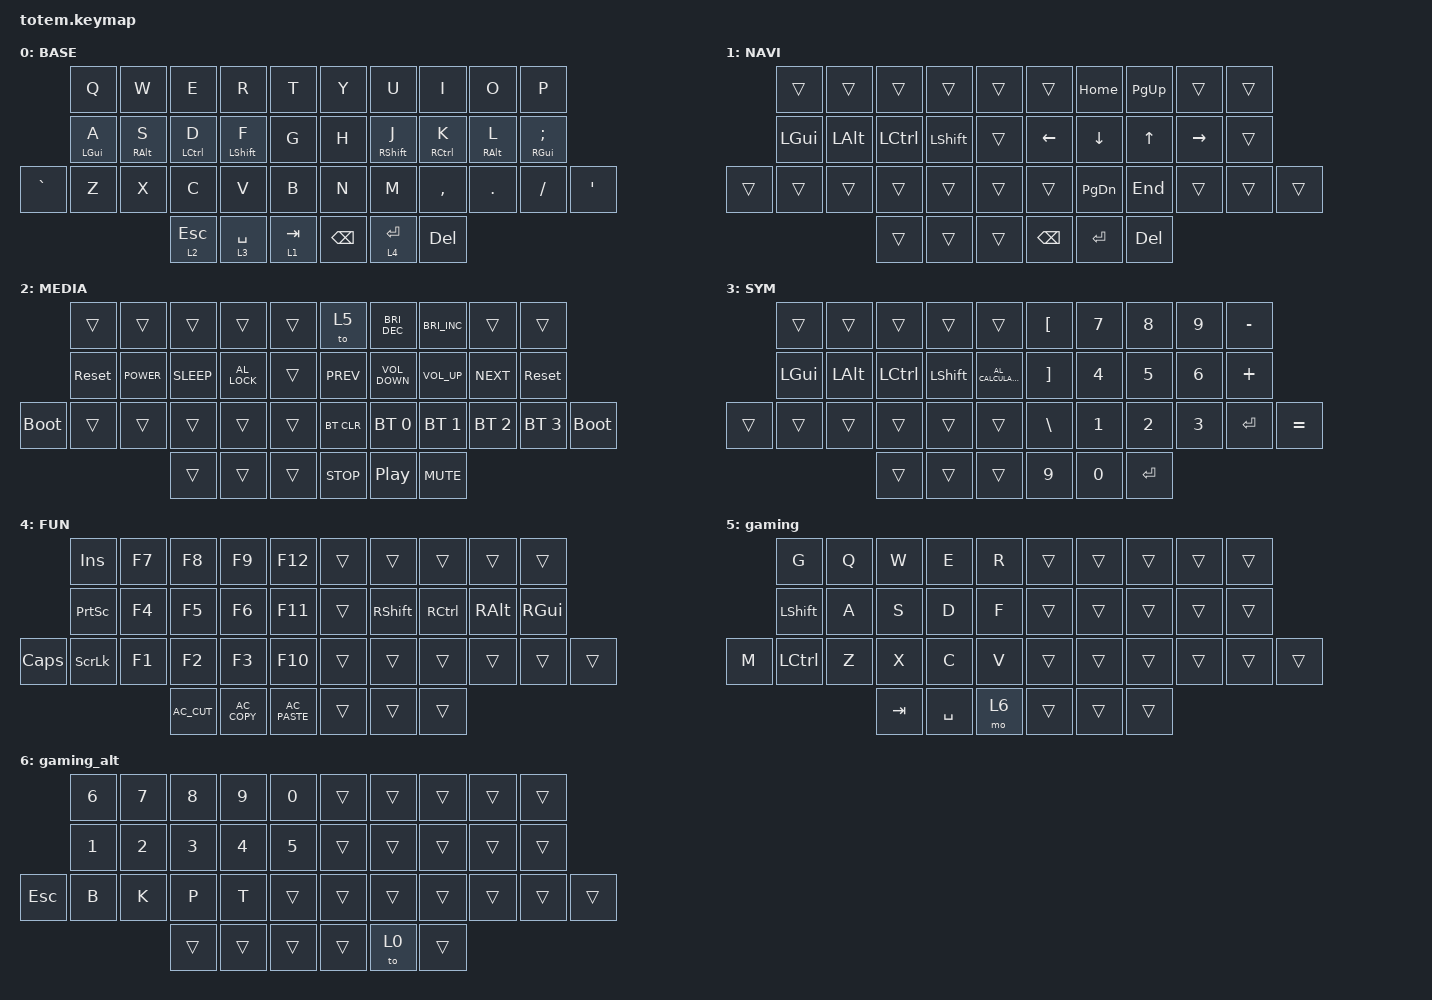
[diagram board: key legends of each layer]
//
//                                                        ▀▀▀▀▀     ▀▀▀▀▀          ▀▀█▀▀
//                                                        ▄▀▀▀▄  ▄  ▄▀▀▀▄  ▄  ▄▀▀▀▄  █  ▄▀▀▀▄
//                                                        █   █  █  █   █  █  █   █  █  █   █
//                                                         ▀▀▀   █   ▀▀▀   █   ▀▀▀   ▀   ▀▀▀
//                                                               █      ▄▄▄█▄▄▄    █   █  
//                                                               ▀      █  █  █     █▄█
//                                                             ▀▀▀▀▀    █  █  █      ▀
//                                                                      ▀  ▀  ▀
//
// ▄▄▄▄▄▄▄▄▄▄▄▄▄▄▄▄▄▄▄▄▄▄▄▄▄▄▄▄▄▄▄▄▄▄▄▄▄▄▄▄▄▄▄▄▄▄▄▄▄▄▄▄▄▄▄▄▄▄▄▄▄▄▄▄▄▄▄▄▄▄▄▄▄▄▄▄▄▄▄▄▄▄▄▄▄▄▄▄▄▄▄▄▄▄▄▄▄▄▄▄▄▄▄▄▄▄▄▄▄▄▄▄▄▄▄▄▄▄▄▄▄▄▄▄▄▄▄▄▄▄▄▄▄▄▄▄▄▄▄▄▄▄▄▄▄▄▄▄▄

#include <behaviors.dtsi>
#include <dt-bindings/zmk/bt.h>
#include <dt-bindings/zmk/keys.h>

#define BASE 0
#define NAV  1
#define SYM  2
#define ADJ  3
#define TVP1 4
#define TVP2 5

&mt {
    quick-tap-ms = <100>;
    global-quick-tap;
    flavor = "tap-preferred";
    tapping-term-ms = <170>;
};

/ {
    combos { compatible = "zmk,combos"; };

    keymap {
        compatible = "zmk,keymap";

        // ▄▄▄▄▄▄▄▄▄▄▄▄▄▄▄▄▄▄▄▄▄▄▄▄▄▄▄▄▄▄▄▄▄▄▄▄▄▄▄▄▄▄▄▄▄▄▄▄▄▄▄▄▄▄▄▄▄▄▄▄▄▄▄▄▄▄▄▄▄▄▄▄▄▄▄▄▄▄▄▄▄▄▄▄▄▄▄▄▄▄▄▄▄▄▄▄▄▄▄▄▄▄▄▄▄▄▄▄▄▄▄▄▄▄▄▄▄▄▄▄▄▄▄▄▄▄▄▄▄▄▄▄▄▄▄▄▄▄▄▄▄▄▄▄▄▄▄▄▄

        base_layer {
            // ┏━━━━━━━━━━━━━━━━━━━━━━━━━━━━━━━━━━━━━━━┓

            label = "BASE";

            // ┗━━━━━━━━━━━━━━━━━━━━━━━━━━━━━━━━━━━━━━━┛
            //             ┏━━━━━━━━━━━┳━━━━━━━━━━━┳━━━━━━━━━━━┳━━━━━━━━━━━┳━━━━━━━━━━━┓   ┏━━━━━━━━━━━┳━━━━━━━━━━━┳━━━━━━━━━━━┳━━━━━━━━━━━┳━━━━━━━━━━━┓
            //             ┃     Q     ┃     W     ┃     F     ┃     P     ┃     G     ┃   ┃     J     ┃     L     ┃     U     ┃     Y     ┃     ;     ┃
            //             ┣━━━━━━━━━━━╋━━━━━━━━━━━╋━━━━━━━━━━━╋━━━━━━━━━━━╋━━━━━━━━━━━┫   ┣━━━━━━━━━━━╋━━━━━━━━━━━╋━━━━━━━━━━━╋━━━━━━━━━━━╋━━━━━━━━━━━┫
            //             ┃     A     ┃     R     ┃     S     ┃     T     ┃     D     ┃   ┃     H     ┃     N     ┃     E     ┃     I     ┃     O     ┃
            // ┏━━━━━━━━━━━╋━━━━━━━━━━━╋━━━━━━━━━━━╋━━━━━━━━━━━╋━━━━━━━━━━━╋━━━━━━━━━━━┫   ┣━━━━━━━━━━━╋━━━━━━━━━━━╋━━━━━━━━━━━╋━━━━━━━━━━━╋━━━━━━━━━━━╋━━━━━━━━━━━┓
            // ┃     Q     ┃     Z     ┃     X     ┃     C     ┃     V     ┃     B     ┃   ┃     K     ┃     M     ┃     ,     ┃     .     ┃     /     ┃     \     ┃
            // ┗━━━━━━━━━━━┻━━━━━━━━━━━┻━━━━━━━━━━━╋━━━━━━━━━━━╋━━━━━━━━━━━╋━━━━━━━━━━━┫   ┣━━━━━━━━━━━╋━━━━━━━━━━━╋━━━━━━━━━━━╋━━━━━━━━━━━┻━━━━━━━━━━━┻━━━━━━━━━━━┛
            //                                     ┃    DEL    ┃    TAB    ┃    SPC    ┃   ┃   ENTER   ┃           ┃   BSPC    ┃
            //                                     ┗━━━━━━━━━━━┻━━━━━━━━━━━┻━━━━━━━━━━━┛   ┗━━━━━━━━━━━┻━━━━━━━━━━━┻━━━━━━━━━━━┛

            bindings = <
           &kp Q       &kp W       &kp E        &kp R        &kp T        &kp Y          &kp U        &kp I        &kp O       &kp P
           &mt LGUI A  &mt RALT S  &mt LCTRL D  &mt LSHFT F  &kp G        &kp H          &mt RSHFT J  &mt RCTRL K  &mt RALT L  &mt RGUI SEMICOLON
&kp GRAVE  &kp Z       &kp X       &kp C        &kp V        &kp B        &kp N          &kp M        &kp COMMA    &kp DOT     &kp FSLH            &kp APOSTROPHE
                                   &lt 2 ESC    &lt 3 SPACE  &lt 1 TAB    &kp BACKSPACE  &lt 4 ENTER  &kp DELETE
            >;
        };

        nav_layer {
            // ┏━━━━━━━━━━━━━━━━━━━━━━━━━━━━━━━━━━━━━━━┓

            label = "NAVI";

            // ┗━━━━━━━━━━━━━━━━━━━━━━━━━━━━━━━━━━━━━━━┛
            //             ┏━━━━━━━━━━━┳━━━━━━━━━━━┳━━━━━━━━━━━┳━━━━━━━━━━━┳━━━━━━━━━━━┓   ┏━━━━━━━━━━━┳━━━━━━━━━━━┳━━━━━━━━━━━┳━━━━━━━━━━━┳━━━━━━━━━━━┓
            //             ┃           ┃           ┃     UP    ┃           ┃     {     ┃   ┃     }     ┃     7     ┃     8     ┃     9     ┃     +     ┃
            //             ┣━━━━━━━━━━━╋━━━━━━━━━━━╋━━━━━━━━━━━╋━━━━━━━━━━━╋━━━━━━━━━━━┫   ┣━━━━━━━━━━━╋━━━━━━━━━━━╋━━━━━━━━━━━╋━━━━━━━━━━━╋━━━━━━━━━━━┫
            //             ┃   SHIFT   ┃   LEFT    ┃    DOWN   ┃   RIGHT   ┃     [     ┃   ┃     ]     ┃     4     ┃     5     ┃     6     ┃     -     ┃
            // ┏━━━━━━━━━━━╋━━━━━━━━━━━╋━━━━━━━━━━━╋━━━━━━━━━━━╋━━━━━━━━━━━╋━━━━━━━━━━━┫   ┣━━━━━━━━━━━╋━━━━━━━━━━━╋━━━━━━━━━━━╋━━━━━━━━━━━╋━━━━━━━━━━━╋━━━━━━━━━━━┓
            // ┃           ┃           ┃   P UP    ┃  C LOCK   ┃  P DOWN   ┃     (     ┃   ┃     )     ┃     1     ┃     2     ┃     3     ┃     *     ┃           ┃
            // ┗━━━━━━━━━━━┻━━━━━━━━━━━┻━━━━━━━━━━━╋━━━━━━━━━━━╋━━━━━━━━━━━╋━━━━━━━━━━━┫   ┣━━━━━━━━━━━╋━━━━━━━━━━━╋━━━━━━━━━━━╋━━━━━━━━━━━┻━━━━━━━━━━━┻━━━━━━━━━━━┛
            //                                     ┃           ┃    TAB    ┃    SPC    ┃   ┃    DEL    ┃     0     ┃           ┃
            //                                     ┗━━━━━━━━━━━┻━━━━━━━━━━━┻━━━━━━━━━━━┛   ┗━━━━━━━━━━━┻━━━━━━━━━━━┻━━━━━━━━━━━┛

            bindings = <
        &trans    &trans    &trans     &trans      &trans    &trans         &kp HOME       &kp PAGE_UP  &trans     &trans
        &kp LGUI  &kp LALT  &kp LCTRL  &kp LSHIFT  &trans    &kp LEFT       &kp DOWN       &kp UP       &kp RIGHT  &trans
&trans  &trans    &trans    &trans     &trans      &trans    &trans         &kp PAGE_DOWN  &kp END      &trans     &trans  &trans
                            &trans     &trans      &trans    &kp BACKSPACE  &kp ENTER      &kp DELETE
            >;
        };

        media_layer {
            bindings = <
             &trans      &trans       &trans       &trans         &trans    &to 5       &kp C_BRIGHTNESS_DEC  &kp C_BRIGHTNESS_INC  &trans        &trans
             &sys_reset  &kp C_POWER  &kp C_SLEEP  &kp C_AL_LOCK  &trans    &kp C_PREV  &kp C_VOLUME_DOWN     &kp C_VOLUME_UP       &kp C_NEXT    &sys_reset
&bootloader  &trans      &trans       &trans       &trans         &trans    &bt BT_CLR  &bt BT_SEL 0          &bt BT_SEL 1          &bt BT_SEL 2  &bt BT_SEL 3  &bootloader
                                      &trans       &trans         &trans    &kp C_STOP  &kp C_PLAY_PAUSE      &kp C_MUTE
            >;

            label = "MEDIA";
        };

        sym_layer {
            bindings = <
        &trans    &trans    &trans     &trans     &trans                 &kp LEFT_BRACKET   &kp N7  &kp N8     &kp N9  &kp MINUS
        &kp LGUI  &kp LALT  &kp LCTRL  &kp LSHFT  &kp C_AL_CALCULATOR    &kp RIGHT_BRACKET  &kp N4  &kp N5     &kp N6  &kp PLUS
&trans  &trans    &trans    &trans     &trans     &trans                 &kp BACKSLASH      &kp N1  &kp N2     &kp N3  &kp ENTER  &kp EQUAL
                            &trans     &trans     &trans                 &kp N9             &kp N0  &kp ENTER
            >;

            label = "SYM";
        };

        fun_layer {
            bindings = <
              &kp INSERT       &kp F7  &kp F8        &kp F9         &kp F12           &trans  &trans     &trans     &trans    &trans
              &kp PRINTSCREEN  &kp F4  &kp F5        &kp F6         &kp F11           &trans  &kp RSHFT  &kp RCTRL  &kp RALT  &kp RGUI
&kp CAPSLOCK  &kp SCROLLLOCK   &kp F1  &kp F2        &kp F3         &kp F10           &trans  &trans     &trans     &trans    &trans    &trans
                                       &kp C_AC_CUT  &kp C_AC_COPY  &kp C_AC_PASTE    &trans  &trans     &trans
            >;

            label = "FUN";
        };

        gaming {
            bindings = <
       &kp G      &kp Q  &kp W    &kp E      &kp R    &trans  &trans  &trans  &trans  &trans
       &kp LSHFT  &kp A  &kp S    &kp D      &kp F    &trans  &trans  &trans  &trans  &trans
&kp M  &kp LCTRL  &kp Z  &kp X    &kp C      &kp V    &trans  &trans  &trans  &trans  &trans  &trans
                         &kp TAB  &kp SPACE  &mo 6    &trans  &trans  &trans
            >;
        };

        gaming_alt {
            bindings = <
         &kp N6  &kp N7  &kp N8  &kp N9  &kp N0    &trans  &trans  &trans  &trans  &trans
         &kp N1  &kp N2  &kp N3  &kp N4  &kp N5    &trans  &trans  &trans  &trans  &trans
&kp ESC  &kp B   &kp K   &kp P   &kp T   &trans    &trans  &trans  &trans  &trans  &trans  &trans
                         &trans  &trans  &trans    &trans  &to 0   &trans
            >;
        };
    };
};
